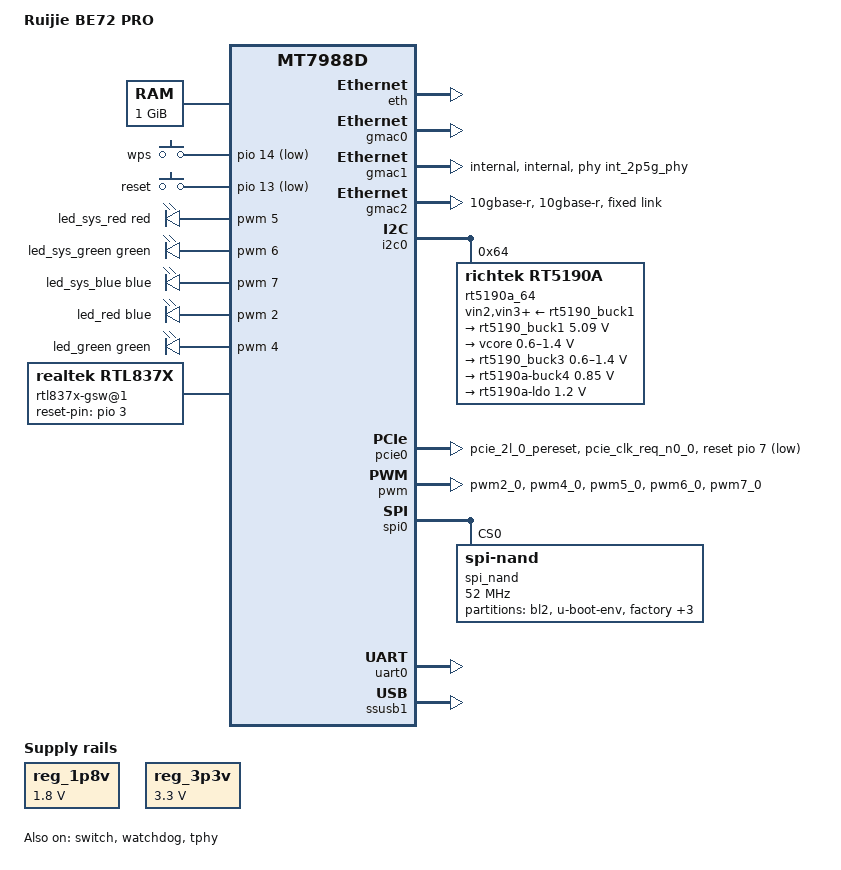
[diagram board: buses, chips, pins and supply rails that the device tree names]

/dts-v1/;
#include "mt7988a.dtsi"
#include <dt-bindings/input/input.h>
#include <dt-bindings/gpio/gpio.h>
#include <dt-bindings/leds/common.h>
#include <dt-bindings/pinctrl/mt65xx.h>
#include <dt-bindings/regulator/richtek,rt5190a-regulator.h>


/ {
	model = "Ruijie BE72 PRO";
	compatible = "ruijie,rg-be72-pro", "mediatek,mt7988d";

	aliases {
		led-boot = &led_status_red;
		led-failsafe = &led_status_red;
		led-running = &led_status_blue_atm;
		led-upgrade = &led_status_green_atm;
		serial0 = &uart0;
	};

	chosen {
		stdout-path = "serial0:115200n8";
	};

	cpus {
		/delete-node/ cpu@3;
	};

	memory@40000000 {
		reg = <0 0x40000000 0 0x40000000>;
	};

	gpio-keys {
		compatible = "gpio-keys";
		pinctrl-names = "default";
		pinctrl-0 = <&button_pins>;

		button-wps {
			label = "wps";
			linux,code = <KEY_WPS_BUTTON>;
			gpios = <&pio 14 GPIO_ACTIVE_LOW>;
		};

		button-reset {
			label = "reset";
			linux,code = <KEY_RESTART>;
			gpios = <&pio 13 GPIO_ACTIVE_LOW>;
		};
	};

	pwm-leds {
		compatible = "pwm-leds";

		led_status_red_atm: led-0 {
			color = <LED_COLOR_ID_RED>;
			label = "led_sys_red";
			function = LED_FUNCTION_STATUS;
			pwms = <&pwm 5 10000>;
			active-low;
		};

		led_status_green_atm: led-1 {
			color = <LED_COLOR_ID_GREEN>;
			label = "led_sys_green";
			function = LED_FUNCTION_STATUS;
			pwms = <&pwm 6 10000>;
			active-low;
		};

		led_status_blue_atm: led-2 {
			color = <LED_COLOR_ID_BLUE>;
			label = "led_sys_blue";
			function = LED_FUNCTION_STATUS;
			pwms = <&pwm 7 10000>;
			active-low;
		};

		led_status_red: led-3 {
			color = <LED_COLOR_ID_BLUE>;
			label = "led_red";
			function = LED_FUNCTION_STATUS;
			pwms = <&pwm 2 10000>;
			active-low;
		};

		led_status_green: led-4 {
			color = <LED_COLOR_ID_GREEN>;
			label = "led_green";
			function = LED_FUNCTION_STATUS;
			pwms = <&pwm 4 10000>;
			active-low;
		};
	};

	reg_1p8v: regulator-1p8v {
		compatible = "regulator-fixed";
		regulator-name = "fixed-1.8V";
		regulator-min-microvolt = <1800000>;
		regulator-max-microvolt = <1800000>;
		regulator-boot-on;
		regulator-always-on;
	};

	reg_3p3v: regulator-3p3v {
		compatible = "regulator-fixed";
		regulator-name = "fixed-3.3V";
		regulator-min-microvolt = <3300000>;
		regulator-max-microvolt = <3300000>;
		regulator-boot-on;
		regulator-always-on;
	};

	rtl837x-gsw@1 {
		compatible = "realtek,rtl837x";
		rtl837x,mdio = <&mdio_bus>;
		rtl837x,reset-pin = <&pio 3 GPIO_ACTIVE_HIGH>;
		rtl837x,cpu-port = <0x00>;
		rtl837x,smi-addr = <0x1d>;
		rtl837x,sds0mode = "10g-kr";
		// ethernet = <&gmac2>;
	};
};

&cpu0 {
	proc-supply = <&rt5190_buck3>;
};

&cpu1 {
	proc-supply = <&rt5190_buck3>;
};

&cpu2 {
	proc-supply = <&rt5190_buck3>;
};

&cci {
	proc-supply = <&rt5190_buck3>;
};

&eth {
	pinctrl-names = "default";
	pinctrl-0 = <&mdio0_pins>;
	status = "okay";
};

//内部交换机
&gmac0 {
	status = "okay";
};

&gmac1 {
	phy-mode = "internal";
	phy-connection-type = "internal";
	phy = <&int_2p5g_phy>;
	status = "okay";
};

&gmac2 {
	phy-mode = "10gbase-r";
	phy-connection-type = "10gbase-r";
	status = "okay";
	fixed-link {
		speed = <10000>;
		full-duplex;
		pause;
		asym-pause;
	};
};

&switch {
	status = "okay";

	ports {
		port@0 {
			label = "lan1";
		};

		port@1 {
			label = "lan2";
		};

		port@2 {
			label = "lan3";
		};

		port@3 {
			label = "lan4";
		};
	};
};

&i2c0 {
	pinctrl-names = "default";
	pinctrl-0 = <&i2c0_pins>;
	status = "okay";

	rt5190a_64: rt5190a@64 {
		compatible = "richtek,rt5190a";
		reg = <0x64>;
		/*interrupts-extended = <&gpio26 0 IRQ_TYPE_LEVEL_LOW>;*/
		vin2-supply = <&rt5190_buck1>;
		vin3-supply = <&rt5190_buck1>;
		vin4-supply = <&rt5190_buck1>;

		regulators {
			rt5190_buck1: buck1 {
				regulator-name = "rt5190a-buck1";
				regulator-min-microvolt = <5090000>;
				regulator-max-microvolt = <5090000>;
				regulator-allowed-modes = <RT5190A_OPMODE_AUTO RT5190A_OPMODE_FPWM>;
				regulator-boot-on;
				regulator-always-on;
			};

			buck2 {
				regulator-name = "vcore";
				regulator-min-microvolt = <600000>;
				regulator-max-microvolt = <1400000>;
				regulator-boot-on;
				regulator-always-on;
			};

			rt5190_buck3: buck3 {
				regulator-name = "vproc";
				regulator-min-microvolt = <600000>;
				regulator-max-microvolt = <1400000>;
				regulator-boot-on;
			};

			buck4 {
				regulator-name = "rt5190a-buck4";
				regulator-min-microvolt = <850000>;
				regulator-max-microvolt = <850000>;
				regulator-allowed-modes = <RT5190A_OPMODE_AUTO RT5190A_OPMODE_FPWM>;
				regulator-boot-on;
				regulator-always-on;
			};

			ldo {
				regulator-name = "rt5190a-ldo";
				regulator-min-microvolt = <1200000>;
				regulator-max-microvolt = <1200000>;
				regulator-boot-on;
				regulator-always-on;
			};
		};
	};
};

&pcie0 {
	pinctrl-names = "default";
	pinctrl-0 = <&pcie0_1_pins>;
	reset-gpios = <&pio 7 GPIO_ACTIVE_LOW>;
	status = "okay";

	pcie@0,0 {
		reg = <0x0000 0 0 0 0>;
		#address-cells = <3>;
		#size-cells = <2>;

		mt7992@0,0 {
			reg = <0x0000 0 0 0 0>;
			#address-cells = <1>;
			#size-cells = <0>;
			nvmem-cells = <&eeprom_factory_0>;
			nvmem-cell-names = "eeprom";

			band@0 {
				/* 2.4 GHz */
				reg = <0>;
			};

			band@1 {
				/* 5 GHz */
				reg = <1>;
			};
		};
	};
};

&pwm {
	status = "okay";
	pinctrl-names = "default";
	pinctrl-0 = <&pwm_led_pins>;
};

&pio {
	button_pins: button-pins {
		pins = "GPIO_WPS", "GPIO_RESET";
		mediatek,pull-down-adv = <0>;
	};

	pwm_led_pins: pwm-led-pins {
		mux {
			function = "pwm";
			groups = "pwm2_0", "pwm4_0", "pwm5_0", "pwm6_0", "pwm7_0";
		};
	};

	pcie0_1_pins: pcie0-pins-g1 {
		mux {
			function = "pcie";
			groups = "pcie_2l_0_pereset", "pcie_clk_req_n0_0";
		};
	};
};

&spi0 {
	pinctrl-names = "default";
	pinctrl-0 = <&spi0_flash_pins>;
	status = "okay";

	spi_nand: flash@0 {
		compatible = "spi-nand";
		reg = <0>;
		#address-cells = <1>;
		#size-cells = <1>;

		spi-max-frequency = <52000000>;
		spi-tx-bus-width = <4>;
		spi-rx-bus-width = <4>;

		mediatek,nmbm;
		mediatek,bmt-max-ratio = <1>;
		mediatek,bmt-max-reserved-blocks = <64>;

		partitions: partitions {
			compatible = "fixed-partitions";
			#address-cells = <1>;
			#size-cells = <1>;

			partition@0 {
				label = "bl2";
				reg = <0x0 0x100000>;
				read-only;
			};

			partition@100000 {
				label = "u-boot-env";
				reg = <0x100000 0x80000>;
				read-only;
			};

			partition@180000 {
				label = "factory";
				reg = <0x180000 0x200000>;
				read-only;

				nvmem-layout {
					compatible = "fixed-layout";
					#address-cells = <1>;
					#size-cells = <1>;

					eeprom_factory_0: eeprom@0 {
						reg = <0x0 0x1e00>;
					};
				};
			};

			partition@380000 {
				label = "product_info";
				reg = <0x380000 0x80000>;
				read-only;
			};

			partition@400000 {
				label = "kdump";
				reg = <0x400000 0x180000>;
			};

			partition@580000 {
				label = "FIP";
				reg = <0x580000 0x200000>;
				read-only;
			};
		};
	};
};

&uart0 {
	status = "okay";
};

&watchdog {
	status = "okay";
};

&tphy {
	status = "okay";
};

&ssusb1 {
	status = "okay";
};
